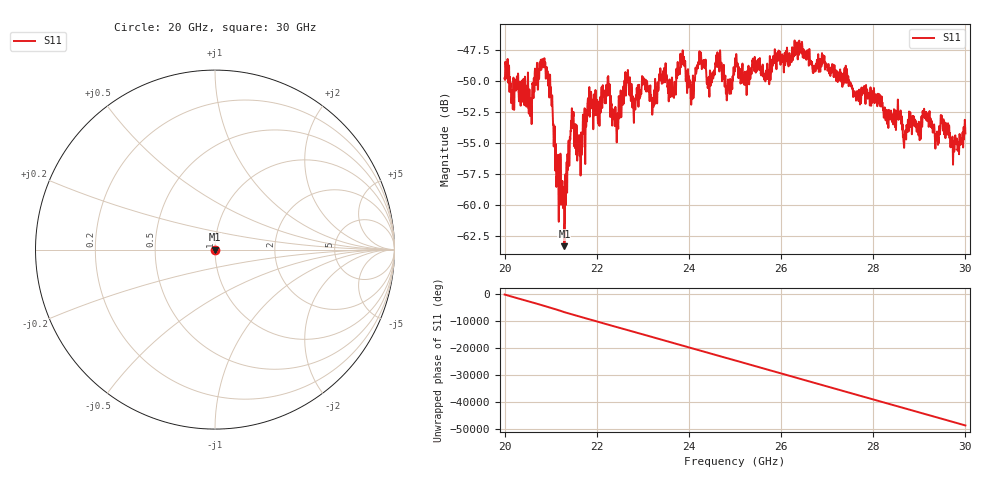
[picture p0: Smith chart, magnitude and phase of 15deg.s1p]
#  HZ  S  RI  R  50.00
! Rohde & Schwarz ZVA40 4Ports - Version 3.90 - 1145.1110k42 SN: 100403
! Date: 2023-10-03 11:39:54
! Measurement: S12
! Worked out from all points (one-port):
!   5001 points, 20 GHz to 30 GHz, reference 50 ohm
!   lowest |S11| = -63.3 dB at 21.3 GHz (marker M1), VSWR 1.00, Z = 49.9 - j0.00991 ohm
!   |S11| at or under -10 dB: start of sweep to end of sweep
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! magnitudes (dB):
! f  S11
! 20 GHz  -49.8
! 20.56 GHz  -51.8
! 20.88 GHz  -48.7
! 21 GHz  -50.5
! 21.15 GHz  -58.2
! 21.25 GHz  -58.6
! 21.3 GHz  -63.3
! 21.46 GHz  -52.3
! 21.62 GHz  -55.0
! 21.85 GHz  -52.9
! 22.23 GHz  -49.9
! 22.4 GHz  -53.2
! 22.5 GHz  -51.4
! 22.65 GHz  -49.9
! 22.81 GHz  -51.4
! 23.75 GHz  -48.9
! 23.86 GHz  -47.5
! 24.06 GHz  -50.5
! 24.22 GHz  -48.1
! 24.43 GHz  -50.0
! 24.64 GHz  -48.9
! 24.87 GHz  -50.1
! 25 GHz  -48.4
! 25.22 GHz  -49.8
! 26.25 GHz  -48.3
! 27.5 GHz  -50.2
! 28.75 GHz  -53.3
! 30 GHz  -54.2
